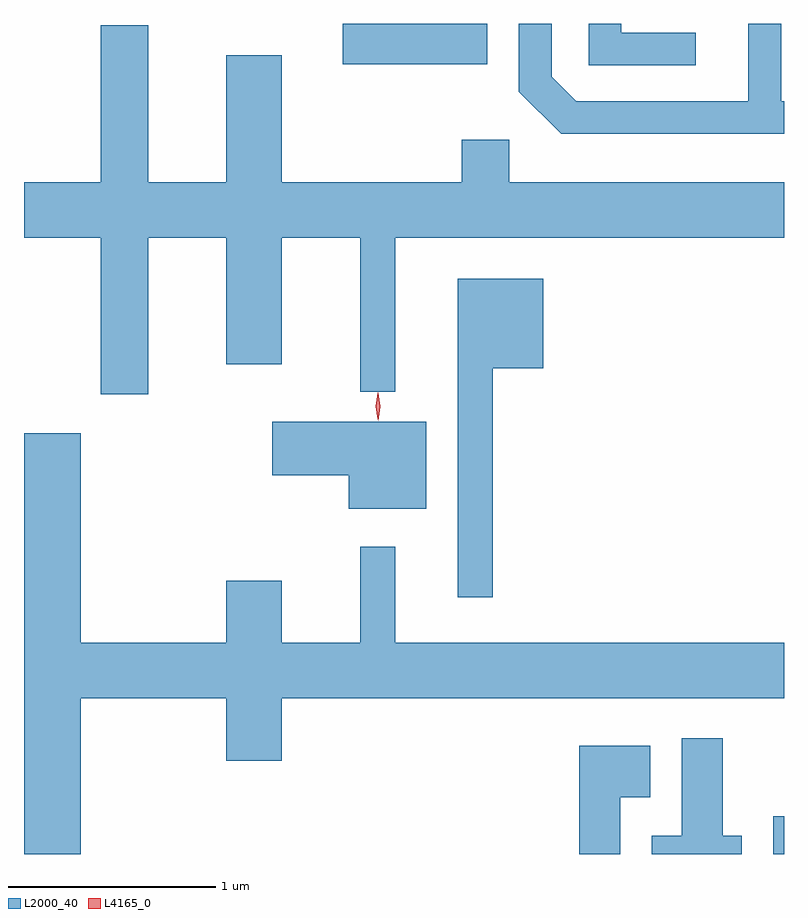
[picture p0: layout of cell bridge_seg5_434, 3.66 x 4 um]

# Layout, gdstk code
import gdstk
lib = gdstk.Library(unit=1e-6, precision=1e-09)
def R(c, l, rs):  # rectangles x0, y0, x1, y1
    for r in rs: c.add(gdstk.rectangle(r[:2], r[2:], *l))
def P(c, l, *ps):  # polygons
    for p in ps: c.add(gdstk.Polygon(p, *l))
L2000_40 = (2000, 40)
L4165_0 = (4165, 0)

bridge_seg5_434 = lib.new_cell('bridge_seg5_434')
R(bridge_seg5_434, L2000_40, [(189.221,1480.466,189.273,1480.649), (187.146,1484.271,187.844,1484.466)])
P(bridge_seg5_434, L2000_40, [(189.273,1484.094),(189.259,1484.094),(189.259,1484.466),(189.101,1484.466),(189.101,1484.094),(188.272,1484.094),(188.154,1484.212),(188.154,1484.466),(187.996,1484.466),(187.996,1484.139),(188.199,1483.936),(189.273,1483.936)],
  [(188.848,1484.424),(188.489,1484.424),(188.489,1484.466),(188.331,1484.466),(188.331,1484.266),(188.848,1484.266)],
  [(186.209,1483.436),(186.586,1483.436),(186.586,1482.826),(186.854,1482.826),(186.854,1483.436),(187.231,1483.436),(187.231,1482.693),(187.399,1482.693),(187.399,1483.436),(189.273,1483.436),(189.273,1483.704),(187.949,1483.704),(187.949,1483.909),(187.721,1483.909),(187.721,1483.704),(186.854,1483.704),(186.854,1484.314),(186.586,1484.314),(186.586,1483.704),(186.209,1483.704),(186.209,1484.459),(185.981,1484.459),(185.981,1483.704),(185.611,1483.704),(185.611,1483.436),(185.981,1483.436),(185.981,1482.681),(186.209,1482.681)],
  [(187.869,1482.806),(188.114,1482.806),(188.114,1483.239),(187.701,1483.239),(187.701,1481.703),(187.869,1481.703)],
  [(187.549,1482.549),(186.806,1482.549),(186.806,1482.291),(187.176,1482.291),(187.176,1482.131),(187.549,1482.131)],
  [(185.884,1481.216),(186.586,1481.216),(186.586,1480.916),(186.854,1480.916),(186.854,1481.216),(189.273,1481.216),(189.273,1481.484),(187.399,1481.484),(187.399,1481.948),(187.231,1481.948),(187.231,1481.484),(186.854,1481.484),(186.854,1481.784),(186.586,1481.784),(186.586,1481.484),(185.884,1481.484),(185.884,1482.494),(185.611,1482.494),(185.611,1480.466),(185.884,1480.466)],
  [(189.069,1480.554),(188.979,1480.554),(188.979,1481.024),(188.781,1481.024),(188.781,1480.554),(188.636,1480.554),(188.636,1480.466),(189.069,1480.466)],
  [(188.484,1480.741),(188.629,1480.741),(188.629,1480.989),(188.286,1480.989),(188.286,1480.466),(188.484,1480.466)])
P(bridge_seg5_434, L4165_0, [(187.317,1482.554),(187.317,1482.554),(187.307,1482.622),(187.316,1482.69),(187.316,1482.69),(187.317,1482.69),(187.327,1482.622),(187.318,1482.554)],
  [(187.317,1482.56),(187.316,1482.561),(187.307,1482.623),(187.316,1482.686),(187.316,1482.687),(187.317,1482.686),(187.327,1482.624),(187.317,1482.561)])

lib.write_gds('bridge_seg5_434.gds')
